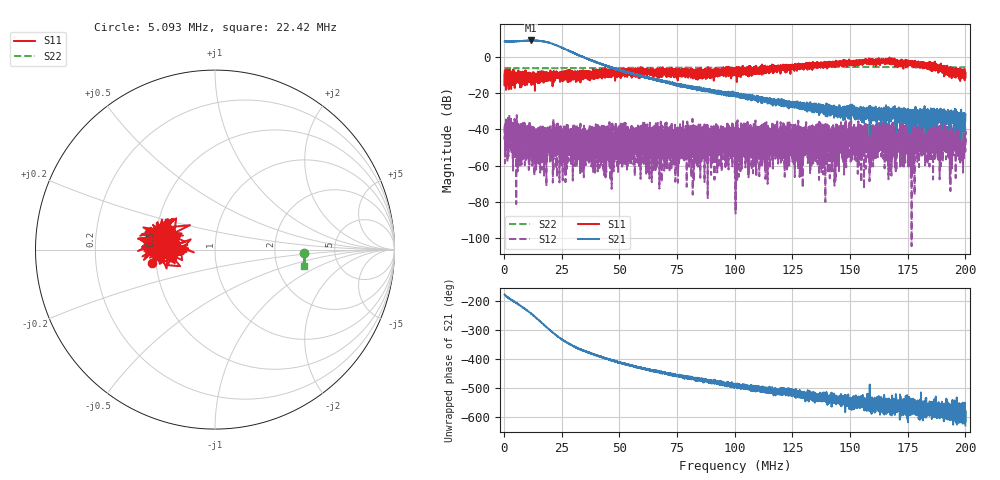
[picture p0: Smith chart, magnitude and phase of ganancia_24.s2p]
# Hz S DB R 50
! CMT, M5065, 19127446, 24.2.4/2
! Date: 10/29/2024 1:15:38 PM
! Data: Format (Calibration Info)
! Freq	S11:dB/Ang(F2)	S21:dB/Ang(F2)	S12:dB/Ang(F2)	S22:dB/Ang(F2)
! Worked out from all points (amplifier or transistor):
!   9000 points, 300 kHz to 200 MHz, reference 50 ohm
!   highest |S21| = 9.4 dB at 11.8 MHz (marker M1)
!   |S21| within 3 dB of that: start of sweep to 23.35 MHz
!   unconditionally stable (mu >= 1): start of sweep to end of sweep
!   at 33.59 MHz: K = 30.37, MAG = 2.4 dB, |S12| = -39.8 dB
!   at 100.2 MHz: K = 1680.32, MAG = -18.5 dB, |S12| = -54.7 dB
!   at 200 MHz: K = 3969.19, MAG = -32.9 dB, |S12| = -47.1 dB
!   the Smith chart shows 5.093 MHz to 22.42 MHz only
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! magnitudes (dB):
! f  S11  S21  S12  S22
! 300 kHz  -9.6  8.9  -38.2  -6.0
! 11.8 MHz  -10.5  9.4  -48.7  -6.0
! 17.48 MHz  -12.2  8.8  -49.5  -6.0
! 20.09 MHz  -13.0  7.9  -40.3  -6.0
! 33.59 MHz  -9.2  0.6  -39.8  -6.0
! 66.87 MHz  -8.7  -12.5  -48.8  -5.8
! 100.2 MHz  -5.8  -21.2  -54.7  -5.7
! 108.7 MHz  -7.9  -22.0  -46.8  -5.7
! 124.1 MHz  -6.7  -26.8  -42.5  -5.5
! 125.9 MHz  -7.5  -26.3  -47.1  -5.5
! 133.4 MHz  -4.0  -27.0  -44.5  -5.5
! 144.2 MHz  -3.3  -29.2  -46.6  -5.4
! 149.8 MHz  -4.2  -29.8  -44.2  -5.4
! 166.7 MHz  -1.6  -31.0  -39.4  -5.4
! 174 MHz  -1.9  -28.6  -43.4  -5.4
! 176 MHz  -3.8  -29.7  -45.1  -5.4
! 180.4 MHz  -3.8  -33.4  -39.9  -5.5
! 188.8 MHz  -5.1  -34.8  -45.5  -5.5
! 190.5 MHz  -6.3  -29.8  -42.4  -5.5
! 194.9 MHz  -8.6  -33.2  -39.3  -5.6
! 199 MHz  -7.3  -36.9  -39.8  -5.6
! 200 MHz  -8.8  -35.0  -47.1  -5.5
